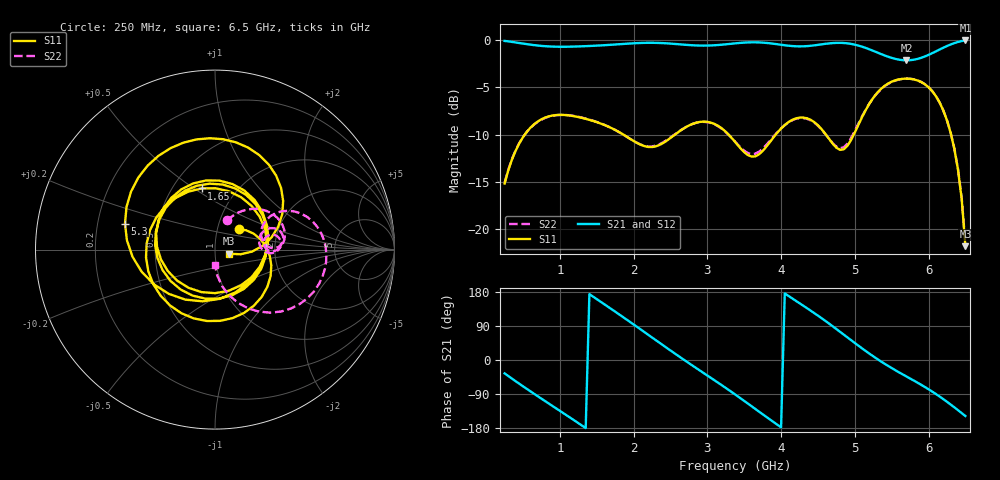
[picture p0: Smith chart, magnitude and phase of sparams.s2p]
! NobuRF pozar-ex5.7-chebyshev: ports 1 "p1", 2 "p2"; 34700 + 33000 steps
# GHz S RI R 50
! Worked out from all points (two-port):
!   126 points, 250 MHz to 6.5 GHz, reference 50 ohm
!   highest |S21| = -0.10 dB at 6.5 GHz (marker M1); lowest = -2.2 dB at 5.7 GHz (marker M2)
!   |S21| within 3 dB of the highest: start of sweep to end of sweep
!   lowest |S11| = -21.8 dB at 6.5 GHz (marker M3), VSWR 1.18, Z = 58.4 - j2.69 ohm
!   |S11| at or under -10 dB: 1.859 GHz to 2.563 GHz (704 MHz wide, 31.8 % of centre); 3.287 GHz to 3.929 GHz (642.4 MHz wide, 17.8 % of centre); 4.607 GHz to 4.987 GHz (379.5 MHz wide, 7.91 % of centre)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
!   |S22| runs from -21.5 to -4.1 dB; largest |S21 - S12| = 0.0022
!   S11 on the Smith chart (normalised r, x): 250 MHz: 1.27, +0.30; 1.65 GHz: 0.69, +0.54; 5.3 GHz: 0.32, +0.13; 6.5 GHz: 1.17, -0.05
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0.25  0.1322 0.1141  0.8015 -0.5693  0.8019 -0.5692  0.0684 0.1623
0.75  0.2165 -0.3127  -0.1946 -0.9049  -0.1948 -0.9047  0.3241 0.196
1  -0.1178 -0.3836  -0.6391 -0.6564  -0.6388 -0.6563  0.3807 0.1257
1.3  -0.3843 -0.043  -0.9145 -0.1107  -0.9146 -0.1109  0.3848 0.0508
1.65  -0.0742 0.3409  -0.7257 0.5912  -0.7256 0.5914  0.3491 0.000323
2  0.2897 0.0396  -0.0626 0.9533  -0.0625 0.953  0.2922 -0.00126
2.35  -0.0523 -0.2735  0.6709 0.6854  0.6707 0.6857  0.2752 0.0562
2.6  -0.3208 -0.0466  0.9259 0.1896  0.9263 0.1895  0.3144 0.0835
2.85  -0.2263 0.2866  0.8662 -0.3403  0.8657 -0.3407  0.3597 0.0599
3.1  0.1118 0.341  0.5491 -0.7543  0.5491 -0.7536  0.3572 0.00346
3.4  0.2807 -0.0263  -0.0687 -0.954  -0.0683 -0.9548  0.283 -0.0138
3.65  0.000122 -0.2427  -0.6094 -0.7505  -0.6103 -0.75  0.2457 0.0495
3.9  -0.3013 -0.0547  -0.9132 -0.2611  -0.9121 -0.2606  0.2878 0.1133
4.2  -0.1872 0.3358  -0.8432 0.3716  -0.8441 0.3707  0.3711 0.0921
4.45  0.1638 0.3289  -0.5176 0.7747  -0.5175 0.7761  0.3646 0.0226
4.7  0.2808 -0.0345  0.0169 0.9577  0.0181 0.9564  0.2836 0.025
4.95  -0.0684 -0.2882  0.5805 0.75  0.5787 0.7499  0.2689 0.1405
5.3  -0.5015 0.1452  0.8546 0.0485  0.8563 0.0482  0.4801 0.2004
5.5  -0.3753 0.4679  0.7461 -0.2901  0.7451 -0.2918  0.59 0.0942
5.7  -0.1024 0.614  0.5639 -0.5346  0.5624 -0.5331  0.6194 -0.0648
6.25  0.3528 0.1289  -0.3201 -0.867  -0.322 -0.8675  0.185 -0.3274
6.5  0.0784 -0.0229  -0.8368 -0.5267  -0.8357 -0.5248  -0.000992 -0.0842
